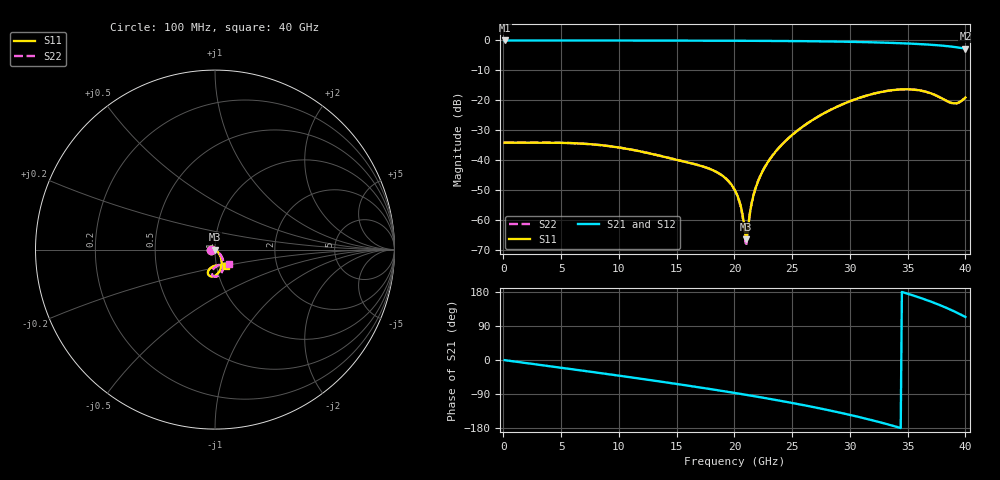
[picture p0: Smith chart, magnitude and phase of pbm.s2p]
! C_s8_ap1000: physics-based via model (prototype), ports at the via
# Hz S RI R 50
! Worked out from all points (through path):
!   400 points, 100 MHz to 40 GHz, reference 50 ohm
!   highest |S21| = -0.17 dB at 100 MHz (marker M1); lowest = -2.9 dB at 40 GHz (marker M2)
!   group delay of S21, straight-line fit = 15.5 ps
!   lowest |S11| = -66.2 dB at 21 GHz (marker M3), VSWR 1.00, Z = 50 + j0.045 ohm
!   |S11| at or under -10 dB: start of sweep to end of sweep
!   |S22| runs from -68.6 to -16.4 dB; largest |S21 - S12| = 0
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1e8  -0.0196 0.000297  0.9804 -0.00697  0.9804 -0.00697  -0.0196 0.000287
6.8e9  -0.0122 0.0144  0.8656 -0.4578  0.8656 -0.4578  -0.0127 0.014
1.34e10  -0.00573 0.0106  0.5453 -0.8095  0.5453 -0.8095  -0.00643 0.0102
1.82e10  -0.0049 0.00461  0.2013 -0.9506  0.2013 -0.9506  -0.00529 0.00414
1.93e10  -0.00363 0.00327  0.1122 -0.9637  0.1122 -0.9637  -0.00392 0.00286
2.01e10  -0.00214 0.00211  0.0455 -0.968  0.0455 -0.968  -0.00234 0.00181
2.06e10  -0.00094 0.00125  0.00317 -0.9682  0.00317 -0.9682  -0.00107 0.00105
2.08e10  -0.000395 0.000862  -0.0139 -0.9678  -0.0139 -0.9678  -0.000487 0.000708
2.1e10  0.000188 0.00045  -0.031 -0.9671  -0.031 -0.9671  0.000131 0.000348
2.11e10  0.000493 0.000232  -0.0396 -0.9666  -0.0396 -0.9666  0.000456 0.000159
2.13e10  0.00113 -0.000225  -0.0568 -0.9654  -0.0568 -0.9654  0.00114 -0.000239
2.16e10  0.00216 -0.000976  -0.0828 -0.9629  -0.0828 -0.9629  0.00224 -0.000888
2.2e10  0.00367 -0.00211  -0.1175 -0.9585  -0.1175 -0.9585  0.00385 -0.00187
2.25e10  0.00578 -0.00378  -0.1612 -0.951  -0.1612 -0.951  0.00612 -0.00331
2.42e10  0.0145 -0.0122  -0.3102 -0.9088  -0.3102 -0.9088  0.0157 -0.0107
2.67e10  0.0291 -0.0353  -0.5234 -0.7944  -0.5234 -0.7944  0.0332 -0.0316
3e10  0.036 -0.0885  -0.7615 -0.5364  -0.7615 -0.5364  0.0479 -0.0828
3.34e10  0.00243 -0.1438  -0.8847 -0.1429  -0.8847 -0.1429  0.0247 -0.1417
3.52e10  -0.027 -0.1481  -0.8627 0.1058  -0.8627 0.1058  -0.00242 -0.1505
3.69e10  -0.0396 -0.1256  -0.7586 0.348  -0.7586 0.348  -0.0175 -0.1304
3.9e10  0.00871 -0.0877  -0.4798 0.5975  -0.4798 0.5975  0.0245 -0.0841
4e10  0.0602 -0.0925  -0.2871 0.6558  -0.2871 0.6558  0.0765 -0.0789
